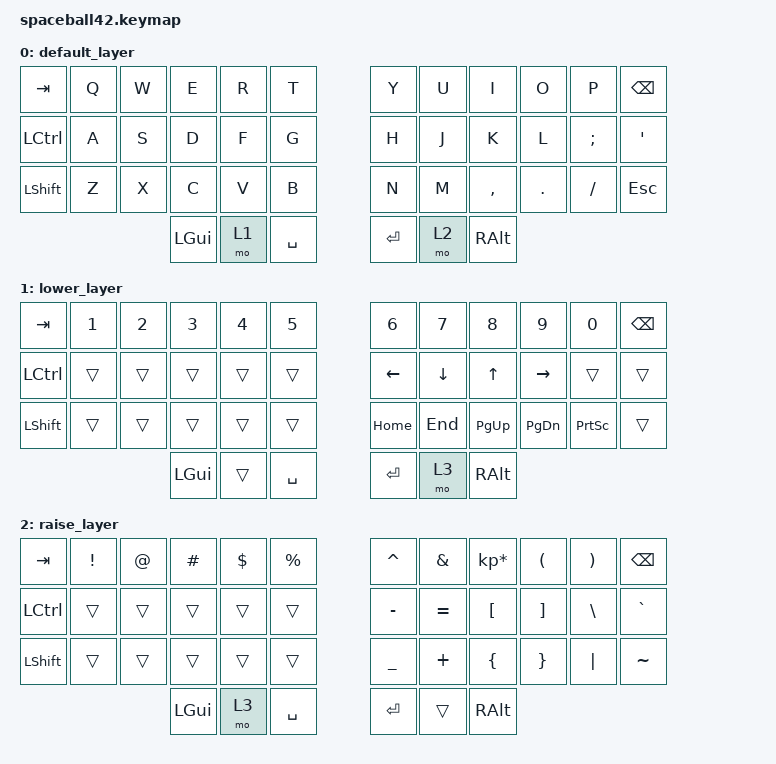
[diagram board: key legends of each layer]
/*
 * Copyright (c) 2020 The ZMK Contributors
 *
 * SPDX-License-Identifier: MIT
 */

#include <behaviors.dtsi>
#include <dt-bindings/zmk/keys.h>
#include <dt-bindings/zmk/bt.h>
#include <dt-bindings/zmk/mouse.h>
#include <dt-bindings/zmk/outputs.h>

/ {
        keymap {
                compatible = "zmk,keymap";

                default_layer {
// -------------------------------------------------------------------------------------
// | TAB  |  Q  |  W  |  E  |  R  |  T  |   |  Y  |  U   |  I  |  O  |  P  | BKSP |
// | CTRL |  A  |  S  |  D  |  F  |  G  |   |  H  |  J   |  K  |  L  |  ;  |  '   |
// | SHFT |  Z  |  X  |  C  |  V  |  B  |   |  N  |  M   |  ,  |  .  |  /  | ESC  |
//                    | GUI | LWR | SPC |   | ENT | RSE  | ALT |
                        bindings = <
   &kp TAB   &kp Q &kp W &kp E &kp R &kp T   &kp Y &kp U  &kp I     &kp O   &kp P    &kp BSPC
   &kp LCTRL &kp A &kp S &kp D &kp F &kp G   &kp H &kp J  &kp K     &kp L   &kp SEMI &kp SQT
   &kp LSHFT &kp Z &kp X &kp C &kp V &kp B   &kp N &kp M  &kp COMMA &kp DOT &kp FSLH &kp ESC
                 &kp LGUI  &mo 1 &kp SPACE   &kp RET &mo 2  &kp RALT
                        >;
                        trackball-bindings = <&tmv_coarse>;
                };

                lower_layer {
// ----------------------------------------------------------------------------------
// |  TAB |  1  |  2  |  3  |  4  |  5  |   |  6  |  7  |  8  |  9  |  0  | BKSP |
// | CTRL |     |     |     |     |     |   | LFT | DWN |  UP | RGT |     |      |
// | SHFT |     |     |     |     |     |   | HOME| END | PGUP|PGDN |PRSC |      |
//                       |     |     | RET | ADJ |     |
                        bindings = <
   &kp TAB   &kp N1   &kp N2    &kp N3    &kp N4    &kp N5        &kp N6    &kp N7    &kp N8    &kp N9    &kp N0    &kp BSPC
   &kp LCTRL &trans   &trans    &trans    &trans    &trans        &kp LEFT  &kp DOWN  &kp UP    &kp RIGHT &trans    &trans
   &kp LSHFT &trans   &trans    &trans    &trans    &trans        &kp HOME  &kp END   &kp PG_UP &kp PG_DN &kp PSCRN &trans
                              &kp LGUI    &trans    &kp SPACE     &kp RET   &mo 3     &kp RALT
                        >;
                };

                raise_layer {
// -----------------------------------------------------------------------------------------
// |  TAB |  !  |  @  |  #  |  $  |  %  |   |  ^  |  &  |  *  |  (  |  )  | BKSP |
// | CTRL |     |     |     |     |     |   |  -  |  =  |  [  |  ]  |  \  |  `   |
// | SHFT |     |     |     |     |     |   |  _  |  +  |  {  |  }  | "|" |  ~   |
//                       |     | ADJ | BKSP |    |     |
                        bindings = <
   &kp  TAB  &kp EXCL &kp AT &kp HASH &kp DLLR &kp PRCNT   &kp CARET &kp AMPS  &kp KP_MULTIPLY &kp LPAR &kp RPAR &kp BSPC
   &kp LCTRL &trans   &trans &trans   &trans   &trans      &kp MINUS &kp EQUAL &kp LBKT        &kp RBKT &kp BSLH &kp GRAVE
   &kp LSHFT &trans   &trans &trans   &trans   &trans      &kp UNDER &kp PLUS  &kp LBRC        &kp RBRC &kp PIPE &kp TILDE
                             &kp LGUI &mo 3    &kp SPACE   &kp RET   &trans    &kp RALT
                        >;
                };
        };
};
